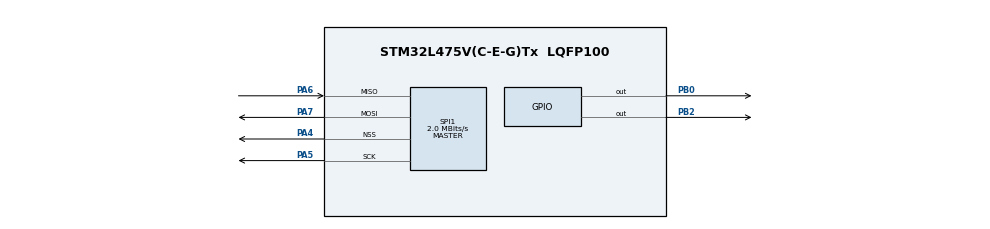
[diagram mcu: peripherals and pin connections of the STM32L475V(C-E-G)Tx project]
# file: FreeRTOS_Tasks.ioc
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FREERTOS.Tasks01=defaultTask,0,128,StartDefaultTask,Default,NULL,Dynamic,NULL,NULL
Mcu.Family=STM32L4
Mcu.Name=STM32L475V(C-E-G)Tx
Mcu.Package=LQFP100
NVIC.PriorityGroup=NVIC_PRIORITYGROUP_4
PA4.Mode=NSS_Signal_Hard_Output
PA4.Signal=SPI1_NSS
PA5.Mode=Full_Duplex_Master
PA5.Signal=SPI1_SCK
PA6.Mode=Full_Duplex_Master
PA6.Signal=SPI1_MISO
PA7.Mode=Full_Duplex_Master
PA7.Signal=SPI1_MOSI
PB0.Signal=GPIO_Output
PB2.Signal=GPIO_Output
ProjectManager.HeapSize=0x200
ProjectManager.StackSize=0x400
ProjectManager.TargetToolchain=TrueSTUDIO
RCC.HSE_VALUE=8000000
RCC.HSI_VALUE=16000000
RCC.LSE_VALUE=32768
RCC.MSI_VALUE=4000000
RCC.VCOOutputFreq_Value=32000000
SPI1.CalculateBaudRate=2.0 MBits/s
SPI1.Direction=SPI_DIRECTION_2LINES
SPI1.Mode=SPI_MODE_MASTER
SPI1.VirtualNSS=VM_NSSHARD
SPI1.VirtualType=VM_MASTER
VP_FREERTOS_VS_CMSIS_V1.Mode=CMSIS_V1
board=custom

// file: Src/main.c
/* USER CODE BEGIN Header */
/**
  ******************************************************************************
  * @file           : main.c
  * @brief          : Main program body
  ******************************************************************************
  * @attention
  *
  * <h2><center>&copy; Copyright (c) 2021 STMicroelectronics.
  * All rights reserved.</center></h2>
  *
  * This software component is licensed by ST under Ultimate Liberty license
  * SLA0044, the "License"; You may not use this file except in compliance with
  * the License. You may obtain a copy of the License at:
  *                             www.st.com/SLA0044
  *
  ******************************************************************************
  */
/* USER CODE END Header */

#include "main.h"
#include "cmsis_os.h"
#include "nokia_5110.h"

/* USER CODE BEGIN PM */
struct printArgs{
  char *printStr;
  unsigned char xStart;
  unsigned char yStart;
  int direction;
};

struct printArgs args[3] = {{"Task 1 ",18,0, 1},{"Task 2", 18, 2, 0},{"Task 3", 18, 4, 1}};
/* USER CODE END PM */

SPI_HandleTypeDef hspi1;

osThreadId defaultTaskHandle;
osThreadId taskHandle[3];
/* USER CODE BEGIN PV */
void printLCDTask(void const *argument)
{
  //Nokia5110_SetCursor(hspi1.Instance,0,5);
  struct printArgs *arg = (struct printArgs *)argument;
  int direction = arg->direction;
  char *emptyStr = "      ";
  for(;;)
  {
	//Clear_Display(hspi1.Instance);
	if(direction)
	{
	  Nokia5110_SetCursor(hspi1.Instance, arg->xStart,arg->yStart);
	  Nokia5110_OutString(hspi1.Instance, arg->printStr);
	  osDelay(150);
	  Nokia5110_SetCursor(hspi1.Instance, arg->xStart,arg->yStart);
	  Nokia5110_OutString(hspi1.Instance, emptyStr);
	  osDelay(50);
	  arg->xStart += 2;
	  if(arg->xStart == 36)
	  {
	    direction = 0;
	  }
	}
	else
	{
	  Nokia5110_SetCursor(hspi1.Instance, arg->xStart,arg->yStart);
	  Nokia5110_OutString(hspi1.Instance, arg->printStr);
	  osDelay(150);
	  Nokia5110_SetCursor(hspi1.Instance, arg->xStart,arg->yStart);
	  Nokia5110_OutString(hspi1.Instance, emptyStr);
      osDelay(50);
	  arg->xStart -= 2;
	  if(arg->xStart == 0)
	  {
	    direction = 1;
	  }
	}
  }
}
/* USER CODE END PV */

void SystemClock_Config(void);
static void MX_GPIO_Init(void);
static void MX_SPI1_Init(void);
void StartDefaultTask(void const * argument);

int main(void)
{

  /* MCU Configuration--------------------------------------------------------*/

  /* Reset of all peripherals, Initializes the Flash interface and the Systick. */
  HAL_Init();

  /* Configure the system clock */
  SystemClock_Config();

  /* Initialize all configured peripherals */
  MX_GPIO_Init();
  MX_SPI1_Init();
  /* USER CODE BEGIN 2 */
  Nokia_Reset();
  Nokia_Config(hspi1.Instance);
  Clear_Display(hspi1.Instance);
  /* USER CODE END 2 */

  /* Create the thread(s) */
  /* definition and creation of defaultTask */
  //osThreadDef(defaultTask, StartDefaultTask, osPriorityNormal, 0, 128);
  //defaultTaskHandle = osThreadCreate(osThread(defaultTask), NULL);

  /* USER CODE BEGIN RTOS_THREADS */
  /* add threads, ... */
  xTaskCreate(printLCDTask, "Task 1", 128, &args[0], 2, NULL);
  xTaskCreate(printLCDTask, "Task 2", 128, &args[1], 2, NULL);
  xTaskCreate(printLCDTask, "Task 3", 128, &args[2], 2, NULL);
  /* USER CODE END RTOS_THREADS */

  /* Start scheduler */
  osKernelStart();

  /* We should never get here as control is now taken by the scheduler */
  /* Infinite loop */
  while (1)
  {

  }
}

void SystemClock_Config(void)
{
  RCC_OscInitTypeDef RCC_OscInitStruct = {0};
  RCC_ClkInitTypeDef RCC_ClkInitStruct = {0};

  /** Initializes the CPU, AHB and APB busses clocks
  */
  RCC_OscInitStruct.OscillatorType = RCC_OSCILLATORTYPE_MSI;
  RCC_OscInitStruct.MSIState = RCC_MSI_ON;
  RCC_OscInitStruct.MSICalibrationValue = 0;
  RCC_OscInitStruct.MSIClockRange = RCC_MSIRANGE_6;
  RCC_OscInitStruct.PLL.PLLState = RCC_PLL_NONE;
  if (HAL_RCC_OscConfig(&RCC_OscInitStruct) != HAL_OK)
  {
    Error_Handler();
  }
  /** Initializes the CPU, AHB and APB busses clocks
  */
  RCC_ClkInitStruct.ClockType = RCC_CLOCKTYPE_HCLK|RCC_CLOCKTYPE_SYSCLK
                              |RCC_CLOCKTYPE_PCLK1|RCC_CLOCKTYPE_PCLK2;
  RCC_ClkInitStruct.SYSCLKSource = RCC_SYSCLKSOURCE_MSI;
  RCC_ClkInitStruct.AHBCLKDivider = RCC_SYSCLK_DIV1;
  RCC_ClkInitStruct.APB1CLKDivider = RCC_HCLK_DIV1;
  RCC_ClkInitStruct.APB2CLKDivider = RCC_HCLK_DIV1;

  if (HAL_RCC_ClockConfig(&RCC_ClkInitStruct, FLASH_LATENCY_0) != HAL_OK)
  {
    Error_Handler();
  }
  /** Configure the main internal regulator output voltage
  */
  if (HAL_PWREx_ControlVoltageScaling(PWR_REGULATOR_VOLTAGE_SCALE1) != HAL_OK)
  {
    Error_Handler();
  }
}

static void MX_SPI1_Init(void)
{

  /* SPI1 parameter configuration*/
  hspi1.Instance = SPI1;
  hspi1.Init.Mode = SPI_MODE_MASTER;
  hspi1.Init.Direction = SPI_DIRECTION_2LINES;
  hspi1.Init.DataSize = SPI_DATASIZE_8BIT;
  hspi1.Init.CLKPolarity = SPI_POLARITY_LOW;
  hspi1.Init.CLKPhase = SPI_PHASE_1EDGE;
  hspi1.Init.NSS = SPI_NSS_HARD_OUTPUT;
  hspi1.Init.BaudRatePrescaler = SPI_BAUDRATEPRESCALER_256;
  hspi1.Init.FirstBit = SPI_FIRSTBIT_MSB;
  hspi1.Init.TIMode = SPI_TIMODE_DISABLE;
  hspi1.Init.CRCCalculation = SPI_CRCCALCULATION_DISABLE;
  hspi1.Init.CRCPolynomial = 7;
  hspi1.Init.CRCLength = SPI_CRC_LENGTH_DATASIZE;
  //hspi1.Init.NSSPMode = SPI_NSS_PULSE_ENABLE;
  if (HAL_SPI_Init(&hspi1) != HAL_OK)
  {
    Error_Handler();
  }
  /* USER CODE BEGIN SPI1_Init 2 */
  __HAL_SPI_ENABLE(&hspi1);
  /* USER CODE END SPI1_Init 2 */

}

static void MX_GPIO_Init(void)
{
  GPIO_InitTypeDef GPIO_InitStruct = {0};

  /* GPIO Ports Clock Enable */
  __HAL_RCC_GPIOA_CLK_ENABLE();
  __HAL_RCC_GPIOB_CLK_ENABLE();

  /*Configure GPIO pin Output Level */
  HAL_GPIO_WritePin(GPIOB, GPIO_PIN_0|GPIO_PIN_2, GPIO_PIN_RESET);

  /*Configure GPIO pins : PB0 PB2 */
  GPIO_InitStruct.Pin = GPIO_PIN_0|GPIO_PIN_2;
  GPIO_InitStruct.Mode = GPIO_MODE_OUTPUT_PP;
  GPIO_InitStruct.Pull = GPIO_NOPULL;
  GPIO_InitStruct.Speed = GPIO_SPEED_FREQ_LOW;
  HAL_GPIO_Init(GPIOB, &GPIO_InitStruct);

}

void StartDefaultTask(void const * argument)
{
  for(;;)
  {
    osDelay(1);
  }
}

void Error_Handler(void)
{
}

/************************ (C) COPYRIGHT STMicroelectronics *****END OF FILE****/
